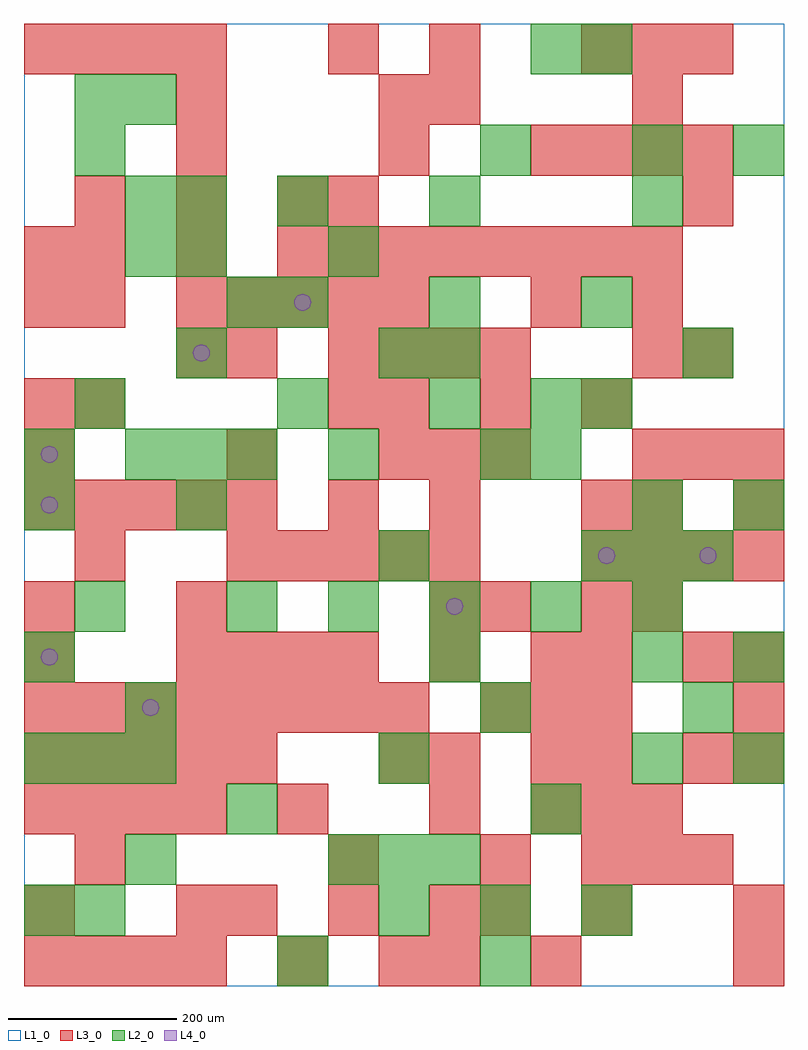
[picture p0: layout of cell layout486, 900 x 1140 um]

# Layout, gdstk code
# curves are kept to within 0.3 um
import gdstk
lib = gdstk.Library(unit=1e-6, precision=1e-09)
def R(c, l, rs):  # rectangles x0, y0, x1, y1
    for r in rs: c.add(gdstk.rectangle(r[:2], r[2:], *l))
def A(c, l, x, y, w, h, nx, ny, dx, dy):  # array of equal rectangles
    R(c, l, [(x+i*dx, y+j*dy, x+i*dx+w, y+j*dy+h) for i in range(nx) for j in range(ny)])
def P(c, l, *ps):  # polygons
    for p in ps: c.add(gdstk.Polygon(p, *l))
L1_0 = (1, 0)
L2_0 = (2, 0)
L3_0 = (3, 0)
L4_0 = (4, 0)

layout486 = lib.new_cell('layout486')
R(layout486, L1_0, [(0,0,900,1140)])
A(layout486, L2_0, 540, 0, 60, 60, 1, 3, 0, 300)
A(layout486, L2_0, 420, 60, 60, 60, 3, 1, 120, 0)
A(layout486, L2_0, 360, 120, 60, 60, 3, 1, 60, 0)
A(layout486, L2_0, 0, 240, 60, 60, 3, 1, 60, 0)
A(layout486, L2_0, 420, 240, 60, 60, 1, 3, 0, 240)
A(layout486, L2_0, 240, 420, 60, 60, 5, 1, 120, 0)
A(layout486, L2_0, 660, 480, 60, 60, 3, 1, 60, 0)
A(layout486, L2_0, 120, 600, 60, 60, 3, 1, 60, 0)
A(layout486, L2_0, 300, 780, 60, 60, 3, 1, 180, 0)
R(layout486, L2_0, [(300,0,360,60), (0,60,60,120), (60,60,120,120), (120,120,180,180), (240,180,300,240), (600,180,660,240), (720,240,780,300), (840,240,900,300), (120,300,180,360), (780,300,840,360), (0,360,60,420), (480,360,540,420), (720,360,780,420), (840,360,900,420), (60,420,120,480), (0,540,60,600), (180,540,240,600), (720,540,780,600), (840,540,900,600), (0,600,60,660), (360,600,420,660), (600,600,660,660), (60,660,120,720), (300,660,360,720), (480,660,540,720), (600,660,660,720), (660,660,720,720), (180,720,240,780), (480,720,540,780), (780,720,840,780), (240,780,300,840), (120,840,180,900), (180,840,240,900), (360,840,420,900), (120,900,180,960), (180,900,240,960), (300,900,360,960), (480,900,540,960), (720,900,780,960), (60,960,120,1020), (540,960,600,1020), (720,960,780,1020), (840,960,900,1020), (60,1020,120,1080), (120,1020,180,1080), (600,1080,660,1140), (660,1080,720,1140)])
A(layout486, L3_0, 0, 0, 60, 60, 4, 2, 60, 180)
A(layout486, L3_0, 240, 60, 60, 60, 3, 1, 120, 0)
A(layout486, L3_0, 660, 120, 60, 60, 3, 2, 60, 960)
A(layout486, L3_0, 600, 180, 60, 60, 3, 1, 60, 0)
A(layout486, L3_0, 0, 240, 60, 60, 5, 2, 60, 300)
A(layout486, L3_0, 840, 240, 60, 60, 1, 3, 0, 60)
A(layout486, L3_0, 0, 300, 60, 60, 8, 1, 60, 0)
A(layout486, L3_0, 540, 300, 60, 60, 3, 1, 60, 0)
A(layout486, L3_0, 180, 360, 60, 60, 4, 1, 60, 0)
A(layout486, L3_0, 240, 480, 60, 60, 5, 1, 60, 0)
A(layout486, L3_0, 660, 480, 60, 60, 4, 1, 60, 0)
A(layout486, L3_0, 420, 600, 60, 60, 3, 1, 60, 0)
A(layout486, L3_0, 720, 600, 60, 60, 3, 1, 60, 0)
A(layout486, L3_0, 420, 660, 60, 60, 3, 1, 120, 0)
A(layout486, L3_0, 360, 720, 60, 60, 4, 1, 60, 0)
A(layout486, L3_0, 180, 780, 60, 60, 5, 1, 60, 0)
A(layout486, L3_0, 60, 840, 60, 60, 3, 2, 120, 60)
A(layout486, L3_0, 360, 840, 60, 60, 7, 1, 60, 0)
A(layout486, L3_0, 600, 960, 60, 60, 4, 1, 60, 0)
A(layout486, L3_0, 0, 1080, 60, 60, 4, 1, 60, 0)
R(layout486, L3_0, [(300,0,360,60), (420,0,480,60), (480,0,540,60), (600,0,660,60), (840,0,900,60), (0,60,60,120), (180,60,240,120), (540,60,600,120), (660,60,720,120), (840,60,900,120), (60,120,120,180), (360,120,420,180), (540,120,600,180), (300,180,360,240), (480,180,540,240), (420,240,480,300), (480,240,540,300), (600,240,660,300), (660,240,720,300), (780,240,840,300), (0,360,60,420), (480,360,540,420), (600,360,660,420), (660,360,720,420), (780,360,840,420), (0,420,60,480), (180,420,240,480), (480,420,540,480), (540,420,600,480), (660,420,720,480), (720,420,780,480), (60,480,120,540), (360,540,420,600), (480,540,540,600), (660,540,720,600), (720,540,780,600), (840,540,900,600), (0,600,60,660), (240,600,300,660), (0,660,60,720), (60,660,120,720), (360,660,420,720), (180,720,240,780), (240,720,300,780), (720,720,780,780), (780,720,840,780), (0,780,60,840), (60,780,120,840), (600,780,660,840), (720,780,780,840), (0,840,60,900), (360,900,420,960), (780,900,840,960), (180,960,240,1020), (420,960,480,1020), (180,1020,240,1080), (420,1020,480,1080), (480,1020,540,1080), (720,1020,780,1080), (360,1080,420,1140), (480,1080,540,1140)])
P(layout486, L4_0, [(40,390),(39.239,393.827),(37.071,397.071),(33.827,399.239),(30,400),(26.173,399.239),(22.929,397.071),(20.761,393.827),(20,390),(20.761,386.173),(22.929,382.929),(26.173,380.761),(30,380),(33.827,380.761),(37.071,382.929),(39.239,386.173)],
  [(40,570),(39.239,573.827),(37.071,577.071),(33.827,579.239),(30,580),(26.173,579.239),(22.929,577.071),(20.761,573.827),(20,570),(20.761,566.173),(22.929,562.929),(26.173,560.761),(30,560),(33.827,560.761),(37.071,562.929),(39.239,566.173)],
  [(40,630),(39.239,633.827),(37.071,637.071),(33.827,639.239),(30,640),(26.173,639.239),(22.929,637.071),(20.761,633.827),(20,630),(20.761,626.173),(22.929,622.929),(26.173,620.761),(30,620),(33.827,620.761),(37.071,622.929),(39.239,626.173)],
  [(160,330),(159.239,333.827),(157.071,337.071),(153.827,339.239),(150,340),(146.173,339.239),(142.929,337.071),(140.761,333.827),(140,330),(140.761,326.173),(142.929,322.929),(146.173,320.761),(150,320),(153.827,320.761),(157.071,322.929),(159.239,326.173)],
  [(220,750),(219.239,753.827),(217.071,757.071),(213.827,759.239),(210,760),(206.173,759.239),(202.929,757.071),(200.761,753.827),(200,750),(200.761,746.173),(202.929,742.929),(206.173,740.761),(210,740),(213.827,740.761),(217.071,742.929),(219.239,746.173)],
  [(340,810),(339.239,813.827),(337.071,817.071),(333.827,819.239),(330,820),(326.173,819.239),(322.929,817.071),(320.761,813.827),(320,810),(320.761,806.173),(322.929,802.929),(326.173,800.761),(330,800),(333.827,800.761),(337.071,802.929),(339.239,806.173)],
  [(520,450),(519.239,453.827),(517.071,457.071),(513.827,459.239),(510,460),(506.173,459.239),(502.929,457.071),(500.761,453.827),(500,450),(500.761,446.173),(502.929,442.929),(506.173,440.761),(510,440),(513.827,440.761),(517.071,442.929),(519.239,446.173)],
  [(700,510),(699.239,513.827),(697.071,517.071),(693.827,519.239),(690,520),(686.173,519.239),(682.929,517.071),(680.761,513.827),(680,510),(680.761,506.173),(682.929,502.929),(686.173,500.761),(690,500),(693.827,500.761),(697.071,502.929),(699.239,506.173)],
  [(820,510),(819.239,513.827),(817.071,517.071),(813.827,519.239),(810,520),(806.173,519.239),(802.929,517.071),(800.761,513.827),(800,510),(800.761,506.173),(802.929,502.929),(806.173,500.761),(810,500),(813.827,500.761),(817.071,502.929),(819.239,506.173)])

lib.write_gds('layout486.gds')
